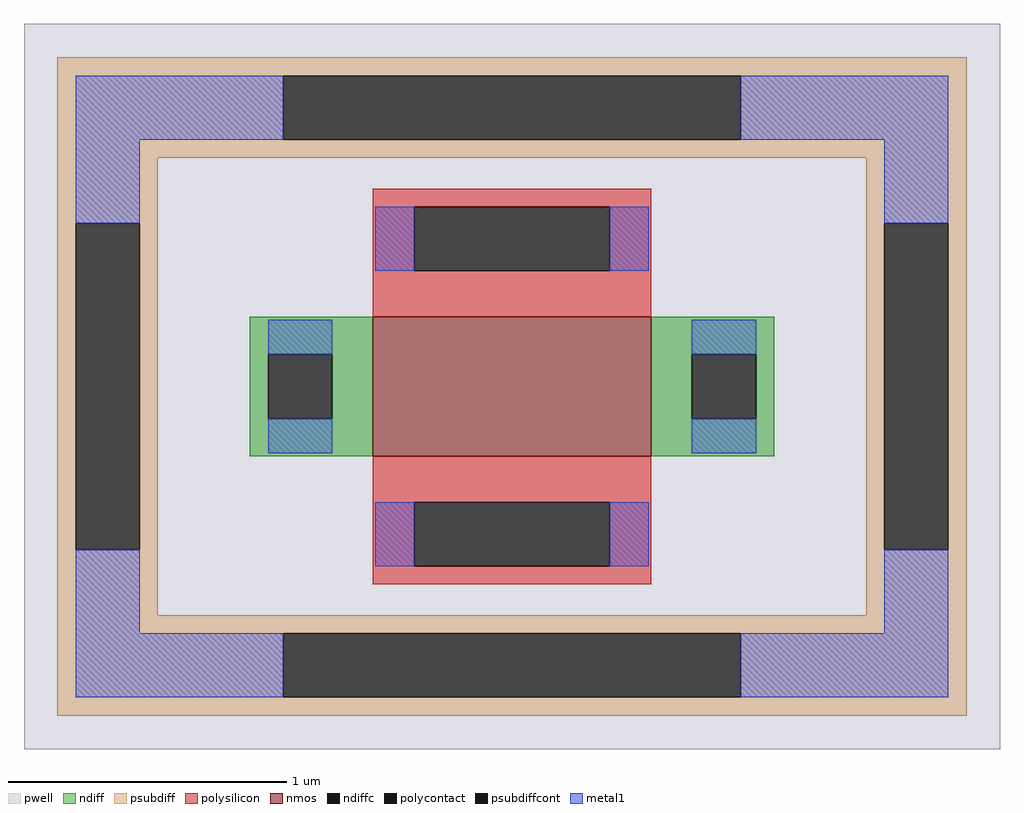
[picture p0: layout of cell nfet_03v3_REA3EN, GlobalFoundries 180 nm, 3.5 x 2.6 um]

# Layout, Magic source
magic
tech gf180mcuD
magscale 1 10
<< pwell >>
rect -350 -260 350 260
<< nmos >>
rect -100 -50 100 50
<< ndiff >>
rect -188 23 -100 50
rect -188 -23 -175 23
rect -129 -23 -100 23
rect -188 -50 -100 -23
rect 100 23 188 50
rect 100 -23 129 23
rect 175 -23 188 23
rect 100 -50 188 -23
<< ndiffc >>
rect -175 -23 -129 23
rect 129 -23 175 23
<< psubdiff >>
rect -326 223 326 236
rect -326 177 -164 223
rect 164 177 326 223
rect -326 164 326 177
rect -326 117 -254 164
rect -326 -117 -313 117
rect -267 -117 -254 117
rect 254 117 326 164
rect -326 -164 -254 -117
rect 254 -117 267 117
rect 313 -117 326 117
rect 254 -164 326 -117
rect -326 -177 326 -164
rect -326 -223 -164 -177
rect 164 -223 326 -177
rect -326 -236 326 -223
<< psubdiffcont >>
rect -164 177 164 223
rect -313 -117 -267 117
rect 267 -117 313 117
rect -164 -223 164 -177
<< polysilicon >>
rect -100 129 100 142
rect -100 83 -70 129
rect 70 83 100 129
rect -100 50 100 83
rect -100 -83 100 -50
rect -100 -129 -70 -83
rect 70 -129 100 -83
rect -100 -142 100 -129
<< polycontact >>
rect -70 83 70 129
rect -70 -129 70 -83
<< metal1 >>
rect -313 177 -164 223
rect 164 177 313 223
rect -313 117 -267 177
rect -98 83 -70 129
rect 70 83 98 129
rect 267 117 313 177
rect -175 23 -129 48
rect -175 -48 -129 -23
rect 129 23 175 48
rect 129 -48 175 -23
rect -313 -177 -267 -117
rect -98 -129 -70 -83
rect 70 -129 98 -83
rect 267 -177 313 -117
rect -313 -223 -164 -177
rect 164 -223 313 -177
<< properties >>
string FIXED_BBOX -290 -200 290 200
<< end >>
